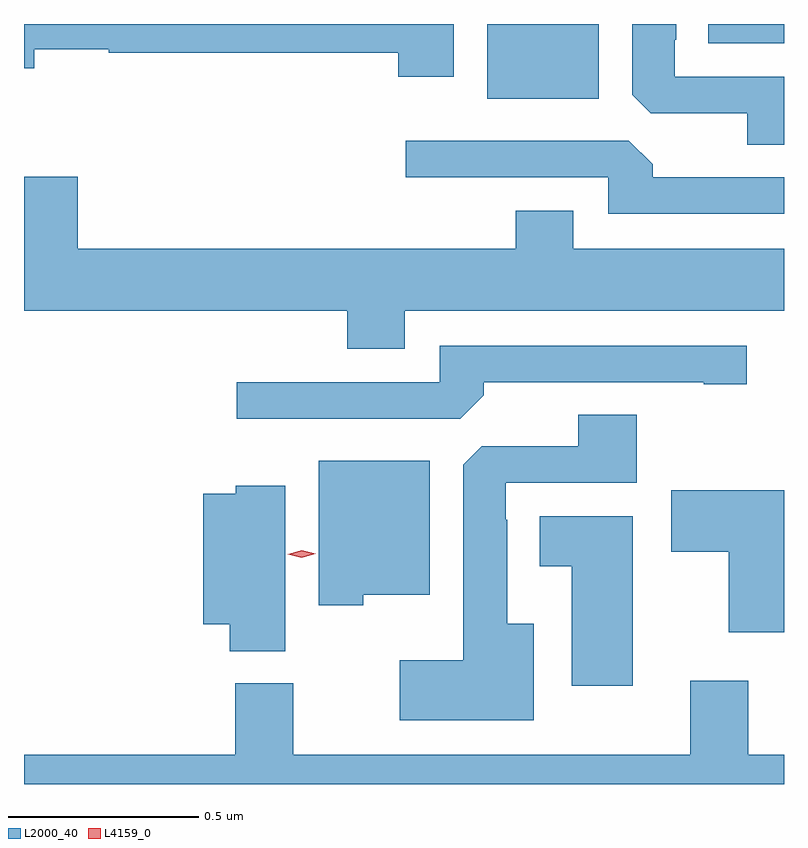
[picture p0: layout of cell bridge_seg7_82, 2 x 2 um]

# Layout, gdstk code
import gdstk
lib = gdstk.Library(unit=1e-6, precision=1e-09)
def R(c, l, rs):  # rectangles x0, y0, x1, y1
    for r in rs: c.add(gdstk.rectangle(r[:2], r[2:], *l))
def P(c, l, *ps):  # polygons
    for p in ps: c.add(gdstk.Polygon(p, *l))
L2000_40 = (2000, 40)
L4159_0 = (4159, 0)

bridge_seg7_82 = lib.new_cell('bridge_seg7_82')
R(bridge_seg7_82, L2000_40, [(1089.326,1003.838,1089.619,1004.035), (1089.908,1003.985,1090.107,1004.035)])
P(bridge_seg7_82, L2000_40, [(1090.107,1003.896),(1089.819,1003.896),(1089.819,1003.993),(1089.823,1003.993),(1089.823,1004.035),(1089.707,1004.035),(1089.707,1003.849),(1089.756,1003.8),(1090.01,1003.8),(1090.01,1003.717),(1090.107,1003.717)],
  [(1089.238,1004.035),(1088.107,1004.035),(1088.107,1003.918),(1088.134,1003.918),(1088.134,1003.968),(1088.33,1003.968),(1088.33,1003.96),(1089.092,1003.96),(1089.092,1003.896),(1089.238,1003.896)],
  [(1090.107,1003.632),(1089.761,1003.632),(1089.761,1003.666),(1089.699,1003.728),(1089.111,1003.728),(1089.111,1003.632),(1089.645,1003.632),(1089.645,1003.536),(1090.107,1003.536)],
  [(1089.109,1003.28),(1090.107,1003.28),(1090.107,1003.444),(1089.553,1003.444),(1089.553,1003.543),(1089.401,1003.543),(1089.401,1003.444),(1088.248,1003.444),(1088.248,1003.633),(1088.107,1003.633),(1088.107,1003.28),(1088.957,1003.28),(1088.957,1003.181),(1089.109,1003.181)],
  [(1089.317,1003.058),(1089.317,1003.092),(1089.896,1003.092),(1089.896,1003.087),(1090.009,1003.087),(1090.009,1003.188),(1089.201,1003.188),(1089.201,1003.092),(1088.667,1003.092),(1088.667,1002.996),(1089.255,1002.996)],
  [(1089.448,1002.457),(1089.379,1002.457),(1089.379,1002.731),(1089.375,1002.731),(1089.375,1002.828),(1089.719,1002.828),(1089.719,1003.007),(1089.566,1003.007),(1089.566,1002.924),(1089.312,1002.924),(1089.263,1002.875),(1089.263,1002.361),(1089.096,1002.361),(1089.096,1002.203),(1089.448,1002.203)],
  [(1089,1002.533),(1089.175,1002.533),(1089.175,1002.886),(1088.882,1002.886),(1088.882,1002.506),(1089,1002.506)],
  [(1088.794,1002.82),(1088.664,1002.82),(1088.664,1002.799),(1088.579,1002.799),(1088.579,1002.455),(1088.648,1002.455),(1088.648,1002.385),(1088.794,1002.385)],
  [(1090.107,1002.808),(1089.81,1002.808),(1089.81,1002.646),(1089.962,1002.646),(1089.962,1002.435),(1090.107,1002.435)],
  [(1089.709,1002.739),(1089.464,1002.739),(1089.464,1002.608),(1089.548,1002.608),(1089.548,1002.294),(1089.709,1002.294)],
  [(1090.107,1002.112),(1090.013,1002.112),(1090.013,1002.307),(1089.86,1002.307),(1089.86,1002.112),(1088.815,1002.112),(1088.815,1002.3),(1088.663,1002.3),(1088.663,1002.112),(1088.107,1002.112),(1088.107,1002.035),(1090.107,1002.035)])
P(bridge_seg7_82, L4159_0, [(1088.838,1002.63),(1088.801,1002.639),(1088.801,1002.639),(1088.801,1002.64),(1088.838,1002.65),(1088.875,1002.641),(1088.875,1002.641),(1088.875,1002.641)])

lib.write_gds('bridge_seg7_82.gds')
